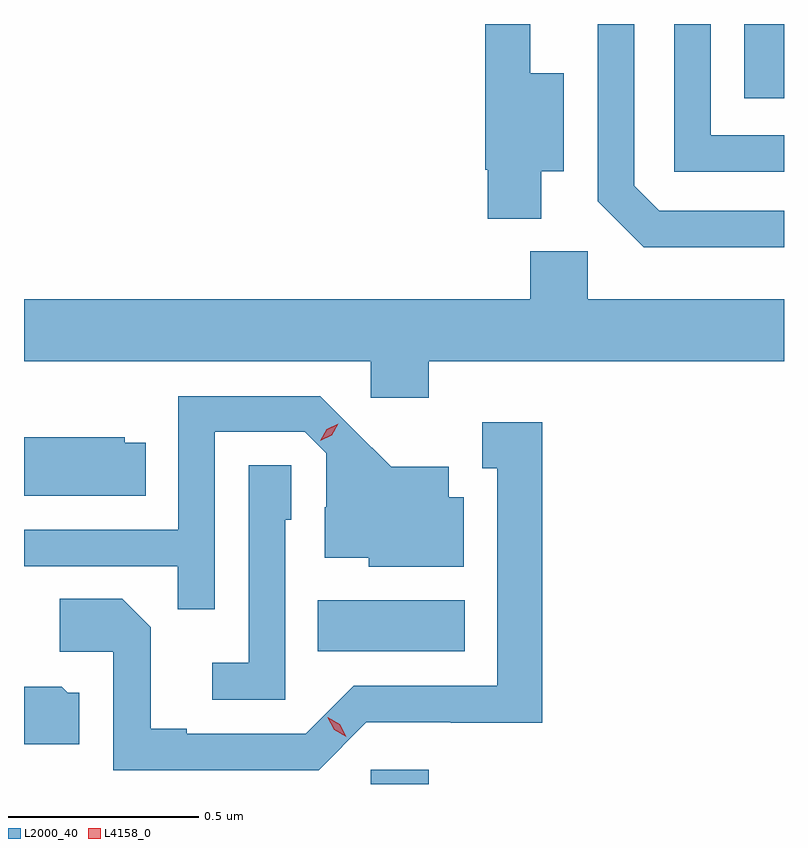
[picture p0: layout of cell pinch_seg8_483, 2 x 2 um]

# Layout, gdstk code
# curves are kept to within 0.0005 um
import gdstk
lib = gdstk.Library(unit=1e-6, precision=1e-09)
def R(c, l, rs):  # rectangles x0, y0, x1, y1
    for r in rs: c.add(gdstk.rectangle(r[:2], r[2:], *l))
def P(c, l, *ps):  # polygons
    for p in ps: c.add(gdstk.Polygon(p, *l))
L2000_40 = (2000, 40)
L4158_0 = (4158, 0)

pinch_seg8_483 = lib.new_cell('pinch_seg8_483')
R(pinch_seg8_483, L2000_40, [(227.418,1139.364,227.57,1139.401), (227.278,1139.714,227.665,1139.848), (228.401,1141.169,228.505,1141.364)])
P(pinch_seg8_483, L2000_40, [(227.866,1140.977),(227.926,1140.977),(227.926,1141.234),(227.837,1141.234),(227.837,1141.364),(227.719,1141.364),(227.719,1140.981),(227.726,1140.981),(227.726,1140.851),(227.866,1140.851)],
  [(228.505,1140.873),(228.177,1140.873),(228.111,1140.939),(228.111,1141.364),(228.015,1141.364),(228.015,1140.897),(228.136,1140.776),(228.505,1140.776)],
  [(228.505,1141.071),(228.312,1141.071),(228.312,1141.364),(228.216,1141.364),(228.216,1140.975),(228.505,1140.975)],
  [(227.57,1140.476),(228.505,1140.476),(228.505,1140.64),(227.988,1140.64),(227.988,1140.766),(227.837,1140.766),(227.837,1140.64),(226.505,1140.64),(226.505,1140.476),(227.418,1140.476),(227.418,1140.381),(227.57,1140.381)],
  [(227.007,1140.291),(227.244,1140.291),(227.301,1140.234),(227.301,1140.092),(227.297,1140.092),(227.297,1139.96),(227.412,1139.96),(227.412,1139.936),(227.662,1139.936),(227.662,1140.118),(227.623,1140.118),(227.623,1140.199),(227.471,1140.199),(227.284,1140.384),(226.911,1140.384),(226.911,1140.033),(226.505,1140.033),(226.505,1139.937),(226.909,1139.937),(226.909,1139.824),(227.007,1139.824)],
  [(227.406,1139.526),(227.628,1139.526),(227.628,1139.525),(227.869,1139.525),(227.869,1140.316),(227.711,1140.316),(227.711,1140.195),(227.75,1140.195),(227.75,1139.622),(227.373,1139.622),(227.247,1139.496),(226.933,1139.496),(226.933,1139.509),(226.839,1139.509),(226.839,1139.776),(226.763,1139.852),(226.599,1139.852),(226.599,1139.712),(226.74,1139.712),(226.74,1139.4),(227.28,1139.4)],
  [(226.826,1140.262),(226.77,1140.262),(226.77,1140.277),(226.505,1140.277),(226.505,1140.122),(226.826,1140.122)],
  [(227.193,1140.06),(227.208,1140.06),(227.208,1140.203),(227.097,1140.203),(227.097,1139.683),(227.001,1139.683),(227.001,1139.586),(227.193,1139.586)],
  [(226.651,1139.604),(226.62,1139.604),(226.604,1139.62),(226.505,1139.62),(226.505,1139.468),(226.651,1139.468)])
P(pinch_seg8_483, L4158_0, [(227.284,1140.267),(227.284,1140.267),(227.302,1140.297),(227.332,1140.312),(227.332,1140.312),(227.332,1140.312),(227.315,1140.282),(227.285,1140.267)],
  [(227.353,1139.488),(227.322,1139.507),(227.304,1139.539),(227.304,1139.54),(227.304,1139.54),(227.336,1139.521),(227.353,1139.488),(227.353,1139.488)])

lib.write_gds('pinch_seg8_483.gds')
